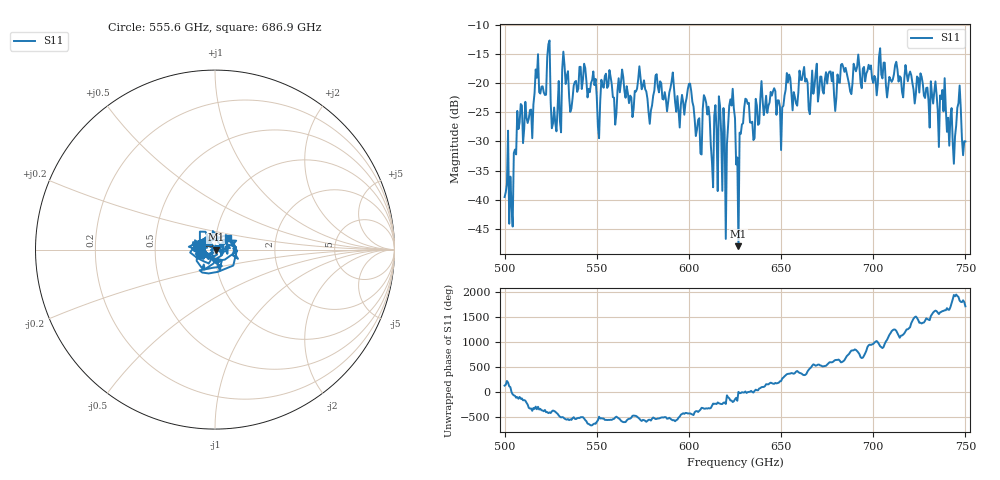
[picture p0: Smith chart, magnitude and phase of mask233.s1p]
!Created with skrf (http://scikit-rf.org).
# GHz S MA R 50.0
!freq magS11 angS11
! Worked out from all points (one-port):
!   401 points, 500 GHz to 750 GHz, reference 50 ohm
!   lowest |S11| = -48.0 dB at 626.9 GHz (marker M1), VSWR 1.01, Z = 50.4 + j0.0206 ohm
!   |S11| at or under -10 dB: start of sweep to end of sweep
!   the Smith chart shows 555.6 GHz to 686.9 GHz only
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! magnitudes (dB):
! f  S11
! 500 GHz  -39.5
! 503.8 GHz  -41.0
! 508.1 GHz  -26.8
! 513.8 GHz  -24.6
! 517.5 GHz  -19.1
! 523.8 GHz  -13.3
! 526.9 GHz  -24.2
! 531.2 GHz  -17.6
! 562.5 GHz  -21.6
! 593.8 GHz  -22.2
! 600.6 GHz  -20.1
! 605.6 GHz  -26.0
! 609.4 GHz  -23.4
! 611.9 GHz  -30.6
! 617.5 GHz  -28.5
! 619.4 GHz  -28.2
! 622.5 GHz  -22.8
! 625 GHz  -26.0
! 626.9 GHz  -48.0
! 631.2 GHz  -22.8
! 634.4 GHz  -26.6
! 656.2 GHz  -24.7
! 687.5 GHz  -21.4
! 718.8 GHz  -19.7
! 737.5 GHz  -21.2
! 742.5 GHz  -24.3
! 746.2 GHz  -23.4
! 750 GHz  -30.0
